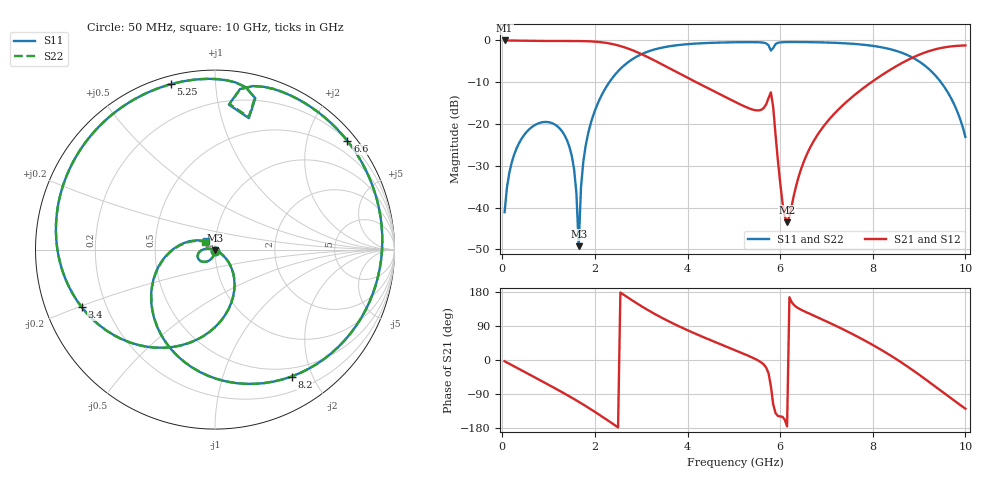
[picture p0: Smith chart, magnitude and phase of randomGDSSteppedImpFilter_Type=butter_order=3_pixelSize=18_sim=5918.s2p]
! freq	dB(S11)	phase(S11)	dB(S12)	phase(S12)
!  dB(S21)	phase(S21)	dB(S22)	phase(S22)
!S-par simulation data
#  GHz  S  DB  R 50
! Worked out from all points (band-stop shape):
!   200 points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, 50 MHz to 10 GHz, reference 50 ohm
!   highest |S21| = -0.01 dB at 50 MHz (marker M1); lowest = -43.5 dB at 6.15 GHz (marker M2)
!   |S21| within 3 dB of the highest: start of sweep to 2.952 GHz; 9.097 GHz to end of sweep
!   lowest |S11| = -49.2 dB at 1.65 GHz (marker M3), VSWR 1.01, Z = 50 - j0.342 ohm
!   |S11| at or under -10 dB: start of sweep to 2.311 GHz; 9.472 GHz to end of sweep
!   |S22| runs from -50.3 to -0.4 dB; largest |S21 - S12| = 0
!   S11 on the Smith chart (normalised r, x): 50 MHz: 1.00, -0.02; 3.4 GHz: 0.11, -0.20; 5.25 GHz: 0.04, +0.77; 6.6 GHz: 0.20, +2.78; 8.2 GHz: 0.38, -1.71; 10 GHz: 0.90, +0.08
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0.05  -41.09 -90.5  -0.01 -3.3  -0.01 -3.3  -41.09 -90.5
0.4  -23.81 -116.1  -0.06 -26.2  -0.06 -26.2  -23.81 -116.1
1.1  -19.91 -162.0  -0.14 -72.0  -0.14 -72.0  -19.91 -162.1
1.5  -27.60 173.0  -0.14 -99.5  -0.14 -99.5  -27.61 172.4
1.6  -36.52 172.9  -0.14 -106.6  -0.14 -106.6  -36.57 171.1
1.65  -49.22 -97.8  -0.15 -110.2  -0.15 -110.2  -50.26 -95.5
1.75  -28.97 -33.6  -0.16 -117.6  -0.16 -117.6  -28.98 -32.7
2  -16.78 -49.3  -0.29 -136.9  -0.29 -136.9  -16.78 -49.0
2.45  -7.99 -85.3  -1.05 -173.6  -1.05 -173.6  -7.99 -85.2
3.4  -1.84 -156.7  -5.44 114.3  -5.44 114.3  -1.84 -156.6
4.15  -0.77 160.0  -9.78 70.4  -9.78 70.4  -0.77 160.1
5.05  -0.43 115.0  -14.83 24.7  -14.83 24.7  -0.43 115.1
5.25  -0.41 105.0  -15.88 14.5  -15.88 14.5  -0.41 105.1
5.8  -2.43 75.5  -12.42 -69.2  -12.42 -69.2  -2.36 75.7
6.15  -0.39 64.1  -43.47 -175.1  -43.47 -175.1  -0.39 64.0
6.6  -0.40 39.3  -26.70 124.1  -26.70 124.1  -0.40 39.3
6.7  -0.42 33.9  -24.54 118.6  -24.54 118.6  -0.42 33.8
7.45  -0.72 -9.5  -14.53 75.4  -14.53 75.4  -0.72 -9.5
8.2  -1.66 -58.9  -8.26 25.6  -8.26 25.6  -1.66 -58.9
8.35  -2.02 -69.9  -7.21 14.5  -7.21 14.5  -2.02 -69.8
9.1  -5.81 -131.4  -2.99 -47.5  -2.99 -47.5  -5.81 -131.2
10  -23.10 138.5  -1.19 -128.4  -1.19 -128.4  -23.08 141.6
